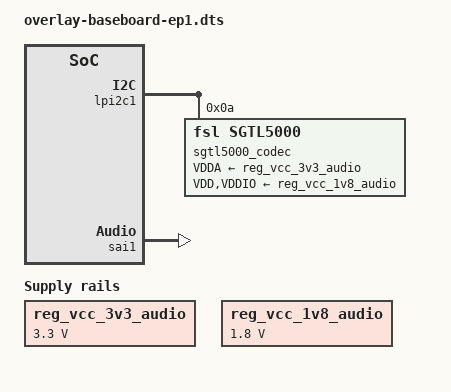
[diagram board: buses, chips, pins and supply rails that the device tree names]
/*
 * Copyright (C) 2023 Avnet Embedded GmbH
 *
 * This program is free software; you can redistribute it and/or
 * modify it under the terms of the GNU General Public License as
 * published by the Free Software Foundation version 2.
 *
 * This program is distributed "as is" WITHOUT ANY WARRANTY of any
 * kind, whether express or implied; without even the implied warranty
 * of MERCHANTABILITY or FITNESS FOR A PARTICULAR PURPOSE.  See the
 * GNU General Public License for more details.
 */

/dts-v1/;
/plugin/;

#include <dt-bindings/clock/imx93-clock.h>
#include <dt-bindings/gpio/gpio.h>

/ {
	fragment@1000 {
		target-path = "/";
		__overlay__ {
			sgtl5000_sound: sgtl5000-sound {
				compatible = "fsl,imx-audio-sgtl5000";
				model = "imx-sgtl5000";
				audio-cpu = <&sai1>;
				audio-codec = <&sgtl5000_codec>;
				audio-routing =
					"LINE_IN", "Line In Jack",
					"MIC_IN", "Mic Jack",
					"Mic Jack", "Mic Bias",
					"Headphone Jack", "HP_OUT";
			};
		};
	};

	fragment@1001 {
		target = <&lpi2c1>;
		__overlay__ {
			#address-cells = <1>;
			#size-cells = <0>;
			sgtl5000_codec: sgtl5000@a {
				pinctrl-names = "default";
				pinctrl-0 = <&pinctrl_audio>;
				compatible = "fsl,sgtl5000";
				reg = <0x0a>;
				assigned-clocks = <&clk IMX93_CLK_CCM_CKO1>;
				assigned-clock-parents = <&clk IMX93_CLK_24M>;
				assigned-clock-rates = <24000000>;
				clocks = <&clk IMX93_CLK_CCM_CKO1>;
				clock-names = "audio_mclk";
				VDDA-supply = <&reg_vcc_3v3_audio>;
				VDD-supply = <&reg_vcc_1v8_audio>;
				VDDIO-supply = <&reg_vcc_1v8_audio>;
			};
		};
	};

	fragment@1002 {
		target = <&sai1>;
		__overlay__ {
			#sound-dai-cells = <0>;
			pinctrl-names = "default";
			pinctrl-0 = <&pinctrl_sai1>;
			assigned-clocks = <&clk IMX93_CLK_SAI1>;
			assigned-clock-parents = <&clk IMX93_CLK_AUDIO_PLL>;
			assigned-clock-rates = <12288000>;
			status = "okay";
		};
	};

	fragment@1003 {
		target-path = "/";
		__overlay__ {
			reg_vcc_3v3_audio: 3v3_audio_regulator {
				compatible = "regulator-fixed";
				regulator-name = "3V3_AUD";
				regulator-min-microvolt = <3300000>;
				regulator-max-microvolt = <3300000>;
			};
		};
	};

	fragment@1004 {
		target-path = "/";
		__overlay__ {
			reg_vcc_1v8_audio: 1v8_audio_regulator {
				compatible = "regulator-fixed";
				regulator-name = "1V8_AUD";
				regulator-min-microvolt = <1800000>;
				regulator-max-microvolt = <1800000>;
			};
		};
	};
};
